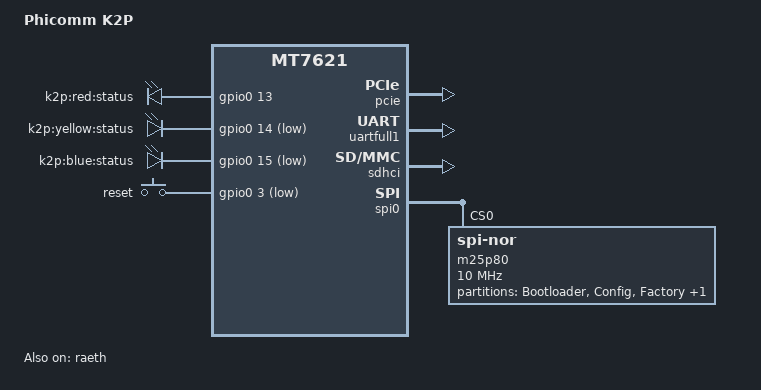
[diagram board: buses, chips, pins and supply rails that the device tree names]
/dts-v1/;

#include "mt7621.dtsi"
#include <dt-bindings/gpio/gpio.h>
#include <dt-bindings/input/input.h>

/ {
	compatible = "phicomm,k2p", "mediatek,mt7621-soc";
	model = "Phicomm K2P";

	chosen {
		bootargs = "console=ttyS0,115200";
	};

	gpio-leds {
		compatible = "gpio-leds";

		stat_r {
			label = "k2p:red:status";
			gpios = <&gpio0 13 GPIO_ACTIVE_HIGH>;
		};

		stat_y {
			label = "k2p:yellow:status";
			gpios = <&gpio0 14 GPIO_ACTIVE_LOW>;
		};

		stat_b {
			label = "k2p:blue:status";
			gpios = <&gpio0 15 GPIO_ACTIVE_LOW>;
		};
	};

	gpio-keys-polled {
		compatible = "gpio-keys-polled";
		#address-cells = <1>;
		#size-cells = <0>;
		poll-interval = <20>;

		reset {
			label = "reset";
			gpios = <&gpio0 3 GPIO_ACTIVE_LOW>;
			linux,code = <KEY_RESTART>;
		};
	};
};

&raeth {
	mac-address = [00 00 00 00 00 00];
	wan_at = "p4";
	gmac1-support = "rgmii-1";
	rgmii-mode-1 = "force-1000";
	gmac2-support = "rgmii-2";
	rgmii-mode-2 = "force-1000";
	gmac2-phy-address = <0>;
	gmac1_txq_num = <1>;
	gmac1_txq_txd_num = <1024>;
	gmac2_txq_num = <1>;
	gmac2_txq_txd_num = <1024>;
	num_rx_desc = <1024>;
	status = "okay";
};

&pcie {
	status = "okay";
};



&pinctrl {
	state_default: pinctrl0 {
		gpio {
			mtk,group = "i2c", "uart3";
			mtk,function = "gpio";
		};

		uart2 {
			mtk,group = "uart2";
			mtk,function = "uart2";
		};
	};
};

&uartfull1 {
	status = "okay";
};

&sdhci {
	status = "okay";

	pinctrl-names = "default";
	pinctrl-0 = <&sdhci_pins>;
};

&spi0 {
	status = "okay";

	m25p80@0 {
		#address-cells = <1>;
		#size-cells = <1>;
		compatible = "jedec,spi-nor";
		reg = <0>;
		spi-max-frequency = <10000000>;
		m25p,chunked-io = <32>;

		partition@0 {
			label = "Bootloader";
			reg = <0x0 0x30000>;
		};

		partition@30000 {
			label = "Config";
			reg = <0x30000 0x10000>;
		};

		partition@40000 {
			label = "Factory";
			reg = <0x40000 0x10000>;
		};

		partition@50000 {
			label = "firmware";
			reg = <0x50000 0xfb0000>;
		};
	};
};
